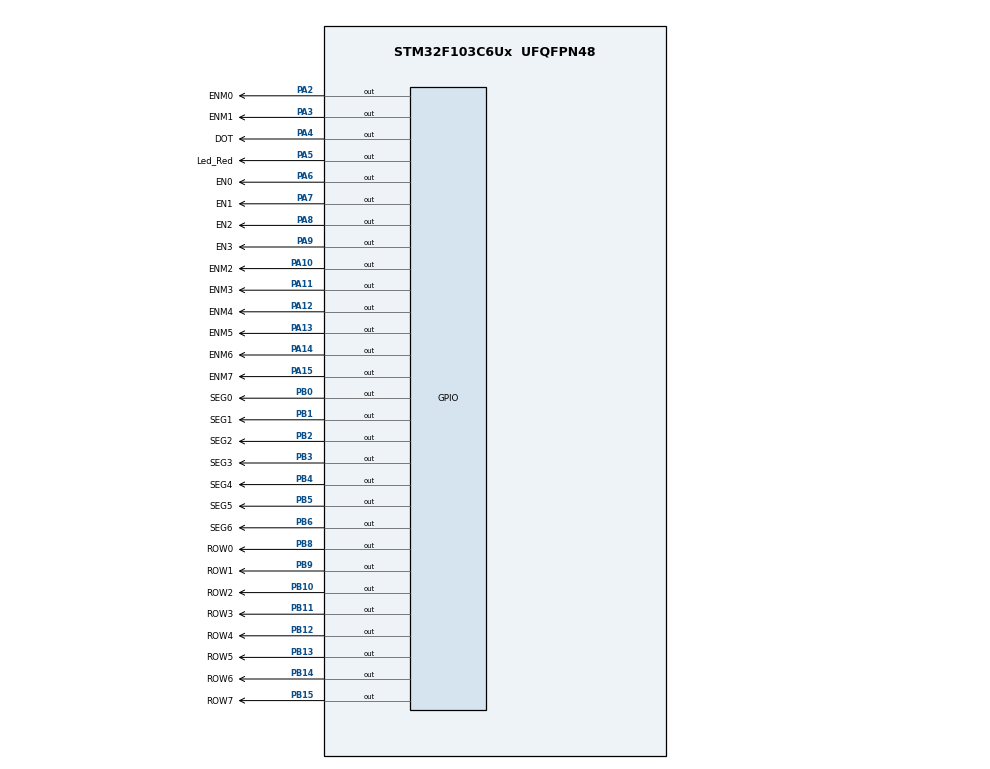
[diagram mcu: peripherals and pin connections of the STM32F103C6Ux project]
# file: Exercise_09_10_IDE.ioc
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Mcu.Family=STM32F1
Mcu.Name=STM32F103C6Ux
Mcu.Package=UFQFPN48
NVIC.PriorityGroup=NVIC_PRIORITYGROUP_4
NVIC.TIM2_IRQn=true\:0\:0\:false\:false\:true\:true\:true\:true
PA10.GPIO_Label=ENM2
PA10.Signal=GPIO_Output
PA11.GPIO_Label=ENM3
PA11.Signal=GPIO_Output
PA12.GPIO_Label=ENM4
PA12.Signal=GPIO_Output
PA13.GPIO_Label=ENM5
PA13.Signal=GPIO_Output
PA14.GPIO_Label=ENM6
PA14.Signal=GPIO_Output
PA15.GPIO_Label=ENM7
PA15.Signal=GPIO_Output
PA2.GPIO_Label=ENM0
PA2.Signal=GPIO_Output
PA3.GPIO_Label=ENM1
PA3.Signal=GPIO_Output
PA4.GPIO_Label=DOT
PA4.Signal=GPIO_Output
PA5.GPIO_Label=Led_Red
PA5.Signal=GPIO_Output
PA6.GPIO_Label=EN0
PA6.Signal=GPIO_Output
PA7.GPIO_Label=EN1
PA7.Signal=GPIO_Output
PA8.GPIO_Label=EN2
PA8.Signal=GPIO_Output
PA9.GPIO_Label=EN3
PA9.Signal=GPIO_Output
PB0.GPIO_Label=SEG0
PB0.Signal=GPIO_Output
PB1.GPIO_Label=SEG1
PB1.Signal=GPIO_Output
PB10.GPIO_Label=ROW2
PB10.Signal=GPIO_Output
PB11.GPIO_Label=ROW3
PB11.Signal=GPIO_Output
PB12.GPIO_Label=ROW4
PB12.Signal=GPIO_Output
PB13.GPIO_Label=ROW5
PB13.Signal=GPIO_Output
PB14.GPIO_Label=ROW6
PB14.Signal=GPIO_Output
PB15.GPIO_Label=ROW7
PB15.Signal=GPIO_Output
PB2.GPIO_Label=SEG2
PB2.Signal=GPIO_Output
PB3.GPIO_Label=SEG3
PB3.Signal=GPIO_Output
PB4.GPIO_Label=SEG4
PB4.Signal=GPIO_Output
PB5.GPIO_Label=SEG5
PB5.Signal=GPIO_Output
PB6.GPIO_Label=SEG6
PB6.Signal=GPIO_Output
PB8.GPIO_Label=ROW0
PB8.Signal=GPIO_Output
PB9.GPIO_Label=ROW1
PB9.Signal=GPIO_Output
ProjectManager.HeapSize=0x200
ProjectManager.StackSize=0x400
ProjectManager.TargetToolchain=STM32CubeIDE
RCC.APB1Freq_Value=8000000
RCC.APB2Freq_Value=8000000
TIM2.Period=9
TIM2.Prescaler=7999
VP_SYS_VS_ND.Mode=No_Debug
VP_TIM2_VS_ClockSourceINT.Mode=Internal
board=custom

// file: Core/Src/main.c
/* USER CODE BEGIN Header */
/**
  ******************************************************************************
  * @file           : main.c
  * @brief          : Main program body
  ******************************************************************************
  * @attention
  *
  * <h2><center>&copy; Copyright (c) 2026 STMicroelectronics.
  * All rights reserved.</center></h2>
  *
  * This software component is licensed by ST under BSD 3-Clause license,
  * the "License"; You may not use this file except in compliance with the
  * License. You may obtain a copy of the License at:
  *                        opensource.org/licenses/BSD-3-Clause
  *
  ******************************************************************************
  */
/* USER CODE END Header */
#include "main.h"

/* USER CODE BEGIN PD */
#define DIGIT_COUNT             4U
#define MATRIX_SIZE             8U

/* TIM2 tạo một ngắt mỗi 10 ms */
#define DIGIT_INTERVAL_TICKS    50U
#define DOT_INTERVAL_TICKS      100U
#define ZOOM_INTERVAL_TICKS     50U

#define COLUMN_HOLD_MS          2U

/* Mức điều khiển theo mạch Proteus hiện tại */
#define MATRIX_COLUMN_ON        GPIO_PIN_RESET
#define MATRIX_COLUMN_OFF       GPIO_PIN_SET
#define MATRIX_PIXEL_ON         GPIO_PIN_RESET
#define MATRIX_PIXEL_OFF        GPIO_PIN_SET
/* USER CODE END PD */

TIM_HandleTypeDef htim2;

void SystemClock_Config(void);
static void MX_GPIO_Init(void);
static void MX_TIM2_Init(void);

/* USER CODE BEGIN 0 */

/* SEG0..SEG6 thuộc GPIOB */
static const uint16_t segmentPins[7] = {
    SEG0_Pin, SEG1_Pin, SEG2_Pin, SEG3_Pin,
    SEG4_Pin, SEG5_Pin, SEG6_Pin
};

/* EN0..EN3 thuộc GPIOA */
static const uint16_t digitPins[DIGIT_COUNT] = {
    EN0_Pin, EN1_Pin, EN2_Pin, EN3_Pin
};

/* ENM0..ENM7 thuộc GPIOA */
static const uint16_t columnPins[MATRIX_SIZE] = {
    ENM0_Pin, ENM1_Pin, ENM2_Pin, ENM3_Pin,
    ENM4_Pin, ENM5_Pin, ENM6_Pin, ENM7_Pin
};

/* ROW0..ROW7 thuộc GPIOB */
static const uint16_t rowPins[MATRIX_SIZE] = {
    ROW0_Pin, ROW1_Pin, ROW2_Pin, ROW3_Pin,
    ROW4_Pin, ROW5_Pin, ROW6_Pin, ROW7_Pin
};

/* Các số hiển thị lần lượt */
static const uint8_t displayDigits[DIGIT_COUNT] = {
    1, 2, 3, 0
};

/*
 * Ba kích thước chữ A:
 * Mẫu 0: nhỏ, 3 cột x 4 hàng.
 * Mẫu 1: vừa, 5 cột x 6 hàng.
 * Mẫu 2: lớn, 6 cột x 8 hàng.
 *
 * Mỗi byte chứa tám điểm ảnh của một cột.
 * Bit bằng 1 nghĩa là điểm ảnh cần sáng.
 */
static const uint8_t letterFrames[3][MATRIX_SIZE] = {
    /* A nhỏ */
    {0x00, 0x00, 0x38, 0x14, 0x38, 0x00, 0x00, 0x00},

    /* A vừa */
    {0x00, 0x7C, 0x12, 0x12, 0x12, 0x7C, 0x00, 0x00},

    /* A lớn */
    {0x00, 0xFE, 0x11, 0x11, 0x11, 0x11, 0xFE, 0x00}
};

/* Nhỏ -> vừa -> lớn -> vừa -> lặp lại */
static const uint8_t zoomSequence[4] = {
    0, 1, 2, 1
};

static uint8_t zoomStep = 0;
static uint8_t currentFrame = 0;
static uint8_t activeDigit = 0;
static uint8_t activeColumn = 0;

static uint16_t digitTicks = 0;
static uint16_t dotTicks = 0;
static uint16_t zoomTicks = 0;

/* Ngắt báo thời điểm đổi mẫu, main thực hiện đổi */
static volatile uint8_t zoomPending = 0;

/* Mã đoạn: bit 0..6 tương ứng SEG0..SEG6 */
static uint8_t getSegmentPattern(uint8_t number)
{
    switch (number)
    {
        case 0: return 0x3F;
        case 1: return 0x06;
        case 2: return 0x5B;
        case 3: return 0x4F;
        case 4: return 0x66;
        case 5: return 0x6D;
        case 6: return 0x7D;
        case 7: return 0x07;
        case 8: return 0x7F;
        case 9: return 0x6F;
        default: return 0x00;
    }
}

/* LOW làm đoạn LED sáng */
static void display7SEG(uint8_t number)
{
    uint8_t pattern = getSegmentPattern(number);

    for (uint8_t segment = 0; segment < 7U; segment++)
    {
        GPIO_PinState level = GPIO_PIN_SET;

        if ((pattern & (1U << segment)) != 0U)
        {
            level = GPIO_PIN_RESET;
        }

        HAL_GPIO_WritePin(GPIOB, segmentPins[segment], level);
    }
}

/* Chuyển sang vị trí LED 7 đoạn tiếp theo */
static void selectNextDigit(void)
{
    HAL_GPIO_WritePin(
        GPIOA, digitPins[activeDigit], GPIO_PIN_SET
    );

    activeDigit++;
    if (activeDigit >= DIGIT_COUNT)
    {
        activeDigit = 0;
    }

    display7SEG(displayDigits[activeDigit]);

    HAL_GPIO_WritePin(
        GPIOA, digitPins[activeDigit], GPIO_PIN_RESET
    );
}

/* Hiển thị một cột của mẫu chữ A hiện tại */
static void displayMatrixColumn(uint8_t column)
{
    /* Tắt cột cũ trước khi thay dữ liệu hàng */
    HAL_GPIO_WritePin(
        GPIOA, columnPins[activeColumn], MATRIX_COLUMN_OFF
    );

    uint8_t pattern = letterFrames[currentFrame][column];

    for (uint8_t row = 0; row < MATRIX_SIZE; row++)
    {
        GPIO_PinState level = MATRIX_PIXEL_OFF;

        if ((pattern & (1U << row)) != 0U)
        {
            level = MATRIX_PIXEL_ON;
        }

        HAL_GPIO_WritePin(GPIOB, rowPins[row], level);
    }

    /* Bật cột mới sau khi dữ liệu đã sẵn sàng */
    HAL_GPIO_WritePin(
        GPIOA, columnPins[column], MATRIX_COLUMN_ON
    );

    activeColumn = column;
}

void updateLEDMatrix(int index)
{
    if (index < 0 || index >= (int)MATRIX_SIZE)
    {
        return;
    }

    displayMatrixColumn((uint8_t)index);
}

/* Đổi kích thước theo chuỗi nhỏ -> vừa -> lớn -> vừa */
static void advanceZoomFrame(void)
{
    zoomStep++;
    if (zoomStep >= 4U)
    {
        zoomStep = 0;
    }

    currentFrame = zoomSequence[zoomStep];
}

/* Thiết lập trạng thái ban đầu */
static void initializeDisplays(void)
{
    activeDigit = 0;
    activeColumn = 0;
    zoomStep = 0;
    currentFrame = zoomSequence[zoomStep];

    digitTicks = 0;
    dotTicks = 0;
    zoomTicks = 0;
    zoomPending = 0;

    /* Tắt toàn bộ vị trí LED 7 đoạn */
    for (uint8_t digit = 0; digit < DIGIT_COUNT; digit++)
    {
        HAL_GPIO_WritePin(
            GPIOA, digitPins[digit], GPIO_PIN_SET
        );
    }

    /* Tắt toàn bộ cột ma trận */
    for (uint8_t column = 0; column < MATRIX_SIZE; column++)
    {
        HAL_GPIO_WritePin(
            GPIOA, columnPins[column], MATRIX_COLUMN_OFF
        );
    }

    /* Tắt dữ liệu điểm ảnh */
    for (uint8_t row = 0; row < MATRIX_SIZE; row++)
    {
        HAL_GPIO_WritePin(
            GPIOB, rowPins[row], MATRIX_PIXEL_OFF
        );
    }

    /* D2/D3 ban đầu tắt */
    HAL_GPIO_WritePin(
        DOT_GPIO_Port, DOT_Pin, GPIO_PIN_SET
    );

    /* D1 luôn sáng với cách mắc LED từ nguồn về PA5 */
    HAL_GPIO_WritePin(
        Led_Red_GPIO_Port, Led_Red_Pin, GPIO_PIN_RESET
    );

    /* Bật số đầu tiên */
    display7SEG(displayDigits[activeDigit]);

    HAL_GPIO_WritePin(
        GPIOA, digitPins[activeDigit], GPIO_PIN_RESET
    );
}

/* USER CODE END 0 */
int main(void)
{

  /* MCU Configuration--------------------------------------------------------*/

  /* Reset of all peripherals, Initializes the Flash interface and the Systick. */
  HAL_Init();

  /* Configure the system clock */
  SystemClock_Config();

  /* Initialize all configured peripherals */
  MX_GPIO_Init();
  MX_TIM2_Init();
  /* USER CODE BEGIN 2 */
  initializeDisplays();

  if (HAL_TIM_Base_Start_IT(&htim2) != HAL_OK)
  {
      Error_Handler();
  }
  /* USER CODE END 2 */

  /* Infinite loop */
  /* USER CODE BEGIN WHILE */
  while (1)
  {
	    for (uint8_t column = 0; column < MATRIX_SIZE; column++)
	    {
	    	updateLEDMatrix((int)column);
	        HAL_Delay(COLUMN_HOLD_MS);
	    }

	    /* Tắt cột cuối trước khi chuyển mẫu */
	    HAL_GPIO_WritePin(
	        GPIOA, columnPins[activeColumn], MATRIX_COLUMN_OFF
	    );

	    if (zoomPending != 0U)
	    {
	        zoomPending = 0;
	        advanceZoomFrame();
	    }

    /* USER CODE END WHILE */

  }
}

void SystemClock_Config(void)
{
  RCC_OscInitTypeDef RCC_OscInitStruct = {0};
  RCC_ClkInitTypeDef RCC_ClkInitStruct = {0};

  /** Initializes the RCC Oscillators according to the specified parameters
  * in the RCC_OscInitTypeDef structure.
  */
  RCC_OscInitStruct.OscillatorType = RCC_OSCILLATORTYPE_HSI;
  RCC_OscInitStruct.HSIState = RCC_HSI_ON;
  RCC_OscInitStruct.HSICalibrationValue = RCC_HSICALIBRATION_DEFAULT;
  RCC_OscInitStruct.PLL.PLLState = RCC_PLL_NONE;
  if (HAL_RCC_OscConfig(&RCC_OscInitStruct) != HAL_OK)
  {
    Error_Handler();
  }
  /** Initializes the CPU, AHB and APB buses clocks
  */
  RCC_ClkInitStruct.ClockType = RCC_CLOCKTYPE_HCLK|RCC_CLOCKTYPE_SYSCLK
                              |RCC_CLOCKTYPE_PCLK1|RCC_CLOCKTYPE_PCLK2;
  RCC_ClkInitStruct.SYSCLKSource = RCC_SYSCLKSOURCE_HSI;
  RCC_ClkInitStruct.AHBCLKDivider = RCC_SYSCLK_DIV1;
  RCC_ClkInitStruct.APB1CLKDivider = RCC_HCLK_DIV1;
  RCC_ClkInitStruct.APB2CLKDivider = RCC_HCLK_DIV1;

  if (HAL_RCC_ClockConfig(&RCC_ClkInitStruct, FLASH_LATENCY_0) != HAL_OK)
  {
    Error_Handler();
  }
}

static void MX_TIM2_Init(void)
{

  TIM_ClockConfigTypeDef sClockSourceConfig = {0};
  TIM_MasterConfigTypeDef sMasterConfig = {0};

  htim2.Instance = TIM2;
  htim2.Init.Prescaler = 7999;
  htim2.Init.CounterMode = TIM_COUNTERMODE_UP;
  htim2.Init.Period = 9;
  htim2.Init.ClockDivision = TIM_CLOCKDIVISION_DIV1;
  htim2.Init.AutoReloadPreload = TIM_AUTORELOAD_PRELOAD_DISABLE;
  if (HAL_TIM_Base_Init(&htim2) != HAL_OK)
  {
    Error_Handler();
  }
  sClockSourceConfig.ClockSource = TIM_CLOCKSOURCE_INTERNAL;
  if (HAL_TIM_ConfigClockSource(&htim2, &sClockSourceConfig) != HAL_OK)
  {
    Error_Handler();
  }
  sMasterConfig.MasterOutputTrigger = TIM_TRGO_RESET;
  sMasterConfig.MasterSlaveMode = TIM_MASTERSLAVEMODE_DISABLE;
  if (HAL_TIMEx_MasterConfigSynchronization(&htim2, &sMasterConfig) != HAL_OK)
  {
    Error_Handler();
  }

}

static void MX_GPIO_Init(void)
{
  GPIO_InitTypeDef GPIO_InitStruct = {0};

  /* GPIO Ports Clock Enable */
  __HAL_RCC_GPIOA_CLK_ENABLE();
  __HAL_RCC_GPIOB_CLK_ENABLE();

  /*Configure GPIO pin Output Level */
  HAL_GPIO_WritePin(GPIOA, DOT_Pin|Led_Red_Pin|EN0_Pin|EN1_Pin
                          |EN2_Pin|EN3_Pin|ENM0_Pin|ENM1_Pin
                          |ENM2_Pin|ENM3_Pin|ENM4_Pin|ENM5_Pin
                          |ENM6_Pin|ENM7_Pin, GPIO_PIN_RESET);

  /*Configure GPIO pin Output Level */
  HAL_GPIO_WritePin(GPIOB, SEG0_Pin|SEG1_Pin|SEG2_Pin|SEG3_Pin
                          |SEG4_Pin|SEG5_Pin|SEG6_Pin|ROW0_Pin
                          |ROW1_Pin|ROW2_Pin|ROW3_Pin|ROW4_Pin
                          |ROW5_Pin|ROW6_Pin|ROW7_Pin, GPIO_PIN_RESET);

  /*Configure GPIO pins : DOT_Pin Led_Red_Pin EN0_Pin EN1_Pin
                           EN2_Pin EN3_Pin ENM0_Pin ENM1_Pin
                           ENM2_Pin ENM3_Pin ENM4_Pin ENM5_Pin
                           ENM6_Pin ENM7_Pin */
  GPIO_InitStruct.Pin = DOT_Pin|Led_Red_Pin|EN0_Pin|EN1_Pin
                          |EN2_Pin|EN3_Pin|ENM0_Pin|ENM1_Pin
                          |ENM2_Pin|ENM3_Pin|ENM4_Pin|ENM5_Pin
                          |ENM6_Pin|ENM7_Pin;
  GPIO_InitStruct.Mode = GPIO_MODE_OUTPUT_PP;
  GPIO_InitStruct.Pull = GPIO_NOPULL;
  GPIO_InitStruct.Speed = GPIO_SPEED_FREQ_LOW;
  HAL_GPIO_Init(GPIOA, &GPIO_InitStruct);

  /*Configure GPIO pins : SEG0_Pin SEG1_Pin SEG2_Pin SEG3_Pin
                           SEG4_Pin SEG5_Pin SEG6_Pin ROW0_Pin
                           ROW1_Pin ROW2_Pin ROW3_Pin ROW4_Pin
                           ROW5_Pin ROW6_Pin ROW7_Pin */
  GPIO_InitStruct.Pin = SEG0_Pin|SEG1_Pin|SEG2_Pin|SEG3_Pin
                          |SEG4_Pin|SEG5_Pin|SEG6_Pin|ROW0_Pin
                          |ROW1_Pin|ROW2_Pin|ROW3_Pin|ROW4_Pin
                          |ROW5_Pin|ROW6_Pin|ROW7_Pin;
  GPIO_InitStruct.Mode = GPIO_MODE_OUTPUT_PP;
  GPIO_InitStruct.Pull = GPIO_NOPULL;
  GPIO_InitStruct.Speed = GPIO_SPEED_FREQ_LOW;
  HAL_GPIO_Init(GPIOB, &GPIO_InitStruct);

}

/* USER CODE BEGIN 4 */
void HAL_TIM_PeriodElapsedCallback(TIM_HandleTypeDef *htim)
{
    if (htim->Instance != TIM2)
    {
        return;
    }

    /* Đổi vị trí LED 7 đoạn mỗi 500 ms */
    digitTicks++;
    if (digitTicks >= DIGIT_INTERVAL_TICKS)
    {
        digitTicks = 0;
        selectNextDigit();
    }

    /* D2/D3 đảo trạng thái mỗi 1000 ms */
    dotTicks++;
    if (dotTicks >= DOT_INTERVAL_TICKS)
    {
        dotTicks = 0;
        HAL_GPIO_TogglePin(DOT_GPIO_Port, DOT_Pin);
    }

    /* Đổi kích thước chữ A mỗi 500 ms */
    zoomTicks++;
    if (zoomTicks >= ZOOM_INTERVAL_TICKS)
    {
        zoomTicks = 0;
        zoomPending = 1;
    }
}
/* USER CODE END 4 */

void Error_Handler(void)
{
  __disable_irq();
  while (1)
  {
  }
}

/************************ (C) COPYRIGHT STMicroelectronics *****END OF FILE****/
